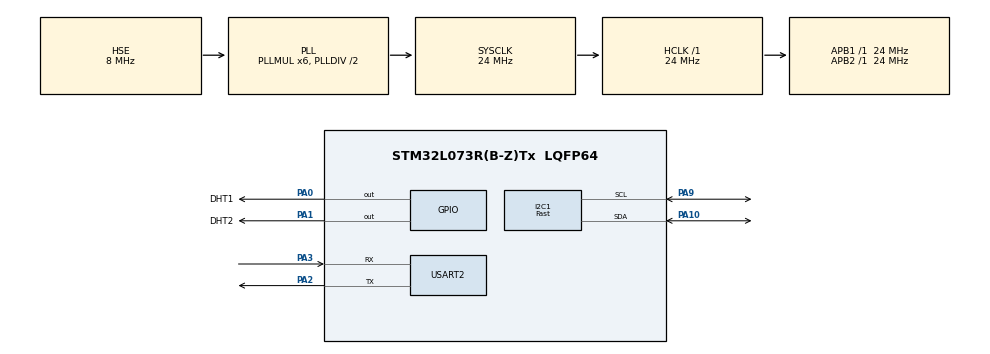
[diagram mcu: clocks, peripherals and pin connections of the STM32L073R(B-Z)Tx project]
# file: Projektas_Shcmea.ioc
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I2C1.I2C_Speed_Mode=I2C_Fast
I2C1.Timing=0x0040131C
Mcu.Family=STM32L0
Mcu.Name=STM32L073R(B-Z)Tx
Mcu.Package=LQFP64
NVIC.I2C1_IRQn=true\:0\:0\:false\:false\:true\:true\:true\:true
NVIC.PVD_IRQn=true\:0\:0\:false\:false\:true\:true\:true\:true
NVIC.TIM7_IRQn=true\:0\:0\:false\:false\:true\:true\:true\:true
NVIC.USART2_IRQn=true\:0\:0\:false\:false\:true\:true\:true\:true
PA0.GPIO_Label=DHT1
PA0.Signal=GPIO_Output
PA1.GPIO_Label=DHT2
PA1.Signal=GPIO_Output
PA10.Mode=I2C
PA10.Signal=I2C1_SDA
PA13.Mode=Serial_Wire
PA13.Signal=SYS_SWDIO
PA14.Mode=Serial_Wire
PA14.Signal=SYS_SWCLK
PA2.Mode=Asynchronous
PA2.Signal=USART2_TX
PA3.Mode=Asynchronous
PA3.Signal=USART2_RX
PA9.Mode=I2C
PA9.Signal=I2C1_SCL
PC14-OSC32_IN.Mode=LSE-External-Oscillator
PC14-OSC32_IN.Signal=RCC_OSC32_IN
PC15-OSC32_OUT.Mode=LSE-External-Oscillator
PC15-OSC32_OUT.Signal=RCC_OSC32_OUT
PH0-OSC_IN.Mode=HSE-External-Clock-Source
PH0-OSC_IN.Signal=RCC_OSC_IN
ProjectManager.HeapSize=0x200
ProjectManager.StackSize=0x400
ProjectManager.TargetToolchain=MDK-ARM V5.32
RCC.AHBFreq_Value=24000000
RCC.APB1Freq_Value=24000000
RCC.APB1TimFreq_Value=24000000
RCC.APB2Freq_Value=24000000
RCC.APB2TimFreq_Value=24000000
RCC.HCLKFreq_Value=24000000
RCC.HSE_VALUE=8000000
RCC.HSI16_VALUE=16000000
RCC.HSI48_VALUE=48000000
RCC.HSI_VALUE=16000000
RCC.MSI_VALUE=2097000
RCC.PLLMUL=RCC_PLLMUL_6
RCC.PLLSourceVirtual=RCC_PLLSOURCE_HSE
RCC.SYSCLKFreq_VALUE=24000000
RCC.SYSCLKSource=RCC_SYSCLKSOURCE_PLLCLK
RCC.VCOOutputFreq_Value=48000000
TIM6.AutoReloadPreload=TIM_AUTORELOAD_PRELOAD_ENABLE
TIM6.Period=0xFFFF
TIM6.Prescaler=24-1
TIM7.AutoReloadPreload=TIM_AUTORELOAD_PRELOAD_ENABLE
TIM7.Period=1000 - 1
TIM7.Prescaler=24000 - 1
USART2.VirtualMode-Asynchronous=VM_ASYNC
VP_TIM6_VS_ClockSourceINT.Mode=Enable_Timer
VP_TIM7_VS_ClockSourceINT.Mode=Enable_Timer
board=custom

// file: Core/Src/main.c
/* USER CODE BEGIN Header */
/**
  ******************************************************************************
  * @file           : main.c
  * @brief          : Main program body
  ******************************************************************************
  * @attention
  *
  * Copyright (c) 2025 STMicroelectronics.
  * All rights reserved.
  *
  * This software is licensed under terms that can be found in the LICENSE file
  * in the root directory of this software component.
  * If no LICENSE file comes with this software, it is provided AS-IS.
  *
  ******************************************************************************
  */
/* USER CODE END Header */
#include "main.h"

/* USER CODE BEGIN Includes */
#include "ssd1306.h"
#include "fonts.h"
#include "stdio.h"
#include "math.h"
#include "string.h"
/* USER CODE END Includes */

I2C_HandleTypeDef hi2c1;

TIM_HandleTypeDef htim6;
TIM_HandleTypeDef htim7;

UART_HandleTypeDef huart2;

void SystemClock_Config(void);
static void MX_GPIO_Init(void);
static void MX_I2C1_Init(void);
static void MX_USART2_UART_Init(void);
static void MX_TIM6_Init(void);
static void MX_TIM7_Init(void);

/* USER CODE BEGIN 0 */

//Velinimo funkcija mikrosekundemis
void delay (uint16_t time)
{
	__HAL_TIM_SET_COUNTER(&htim6, 0);
	while ((__HAL_TIM_GET_COUNTER(&htim6))<time);
}
// Matavimo kintamieji
uint16_t RH1 = 0, RH2 = 0;
float Hum1 = 0, Hum2 = 0, Avg = 0, Avg10 = 0, sum1 = 0, sum2 = 0, sum3 = 0, Diff10 = 0;
uint8_t Diff = 0,sample = 0;

//Funkcija nustatyti pin'a kaip outpout
void Set_Pin_Output(GPIO_TypeDef *GPIOx, uint16_t GPIO_Pin)
{
	GPIO_InitTypeDef GPIO_InitStruct = {0};
	GPIO_InitStruct.Pin = GPIO_Pin;
	GPIO_InitStruct.Mode = GPIO_MODE_OUTPUT_PP;
	GPIO_InitStruct.Speed = GPIO_SPEED_FREQ_LOW;
	HAL_GPIO_Init(GPIOx, &GPIO_InitStruct);
}

//Funkcija nustatyti pin'a kaip input
void Set_Pin_Input(GPIO_TypeDef *GPIOx, uint16_t GPIO_Pin)
{
	GPIO_InitTypeDef GPIO_InitStruct = {0};
	GPIO_InitStruct.Pin = GPIO_Pin;
	GPIO_InitStruct.Mode = GPIO_MODE_INPUT;
	GPIO_InitStruct.Pull = GPIO_PULLUP;
	HAL_GPIO_Init(GPIOx, &GPIO_InitStruct);
}

/***************************DHT11 MATAVIMAS**********************************************/
//DHT11 jutikliu prijungimo pin'ai
#define DHT11_1_PORT GPIOA
#define DHT11_1_PIN  GPIO_PIN_0
#define DHT11_2_PORT GPIOA
#define DHT11_2_PIN  GPIO_PIN_1

//Funkcija nusiusti pradzios signala DHT11
void DHT11_Start(GPIO_TypeDef *GPIOx, uint16_t GPIO_Pin)
{
	Set_Pin_Output(GPIOx, GPIO_Pin); //nustatom pin'a kaip output
	HAL_GPIO_WritePin(GPIOx, GPIO_Pin,1); //pradiniu atveju laikom auksta
	delay(1000); //laukiame 1 ms
	HAL_GPIO_WritePin(GPIOx, GPIO_Pin, 0); //nuleidziam zemyn
	delay(18000); //laukiame 18 ms
	HAL_GPIO_WritePin(GPIOx, GPIO_Pin, 1); //pakeliam pin'a aukstyn
	delay(20); //laukiame 20 µs
	Set_Pin_Input(GPIOx, GPIO_Pin); //nustatome kaip input
}

//DHT11 atsako funkcija
uint8_t DHT11_Check_Response(GPIO_TypeDef *GPIOx, uint16_t GPIO_Pin)
{
	uint8_t Response = 0;
	delay(40); //laukiame 40 µs
	if (!(HAL_GPIO_ReadPin(GPIOx, GPIO_Pin))) //Patikriname ar pin'as yra zemas
	{
		delay(80); //laukiame 80 µs
		if ((HAL_GPIO_ReadPin(GPIOx, GPIO_Pin)))
			Response = 1; //Patikriname ar pin'as yra pakeltas aukstyn ir nurodome, kad jutiklis atsake
		else Response = 0; //Jutiklis neatsake
	}
	while ((HAL_GPIO_ReadPin(GPIOx, GPIO_Pin))); //Laukiame kol pin'as vel bus zemas
	return Response;
}

//Funkcija nuskaityti 1 baita is DHT11
uint8_t DHT11_Read(GPIO_TypeDef *GPIOx, uint16_t GPIO_Pin)
{
	uint8_t i, j;
	for (j = 0; j < 8; j++)
	{
		while (!(HAL_GPIO_ReadPin(GPIOx, GPIO_Pin))); //Laukiame kol pin'as bus aukstas
		delay(40); //laukiame 40 µs
		if (!(HAL_GPIO_ReadPin(GPIOx, GPIO_Pin))) //Jei zemas - tai 0
		{
			i &= ~(1 << (7 - j)); //Irasome 0
		}
		else i |= (1 << (7 - j)); //Jei aukstas - tai 1
		while ((HAL_GPIO_ReadPin(GPIOx, GPIO_Pin))); //Laukiame kol vel taps zemas
	}
	return i;
}

//Funkcija nuskaityti dregme is DHT11
uint8_t ReadHumidity(GPIO_TypeDef *GPIOx, uint16_t GPIO_Pin)
{
	uint8_t Rh_byte1, Rh_byte2, Temp_byte1, Temp_byte2;
	uint16_t SUM;

	DHT11_Start(GPIOx, GPIO_Pin);
	if (DHT11_Check_Response(GPIOx, GPIO_Pin))
	{
		Rh_byte1 = DHT11_Read(GPIOx, GPIO_Pin);
		Rh_byte2 = DHT11_Read(GPIOx, GPIO_Pin);
		Temp_byte1 = DHT11_Read(GPIOx, GPIO_Pin);
		Temp_byte2 = DHT11_Read(GPIOx, GPIO_Pin);
		SUM = DHT11_Read(GPIOx, GPIO_Pin);
		return Rh_byte1; //tik pirmas baitas dregmei
	}
	else return 255; // klaidos reiksme
}
// UART klaidu valdymo funkcija
void HandleError(void) {
    uint32_t uart_err;
    uart_err = HAL_UART_GetError(&huart2);
}

int8_t OLED1 = 1; // kintamasis pirmam kartui atnaujint indikatoriu
char txBuf[64];
extern UART_HandleTypeDef huart2;

void HAL_TIM_PeriodElapsedCallback(TIM_HandleTypeDef *htim7)
{
	char buf[32];

	RH1 = ReadHumidity(DHT11_1_PORT, DHT11_1_PIN);
	RH2 = ReadHumidity(DHT11_2_PORT, DHT11_2_PIN);

	if (RH1 == 255 || RH2 == 255) { // Klaidos tikrinimas
		 const char* errorMsg = "Klaida: DHT11 nepavyko ismatuoti\r\n";
    HAL_UART_Transmit(&huart2, (uint8_t*)errorMsg, strlen(errorMsg), HAL_MAX_DELAY);

    // Sustabdom laikmati
    HAL_TIM_Base_Stop_IT(&htim6);

    // OLED klaidos pranešimas
    ssd1306_Fill(Black);
    ssd1306_SetCursor(30, 10);
    ssd1306_WriteString("Klaida", Font_11x18, White);
    ssd1306_UpdateScreen(&hi2c1);
	}
	else {
		HAL_TIM_Base_Start_IT(&htim6); //jei viskas gerai, laikmatis vel paleidziamas
		// Skaiciavimai
		Hum1 = (float) RH1;
		Hum2 = (float) RH2;
		Avg = (Hum1 + Hum2) / 2;
		Diff = fabs(Hum1 - Hum2);

		// Duomenu perdavimas kompiuteriui
		sprintf(txBuf, "Avg: %.1f%%, Diff: %d%%\r\n", Avg, Diff);
        if (HAL_UART_Transmit(&huart2, (uint8_t*)txBuf, strlen(txBuf), HAL_MAX_DELAY) != HAL_OK) {
            HandleError();
        }

		// Vidurkinimas kas 10 matavimu
		sum1 += Hum1;
		sum2 += Hum2;
		sum3 += Diff;
		sample++;

		if (sample == 10 || OLED1) {
			Avg10 = (sum1 + sum2) / (2 * sample);
			Diff10 = sum3 / sample;
			sample = 0;
			sum1 = 0;
			sum2 = 0;
			sum3 = 0;

			// OLED atnaujinimas
			ssd1306_Fill(Black);
			ssd1306_SetCursor(0, 5);
			sprintf(buf, "Avg: %.1f %%", Avg10);
			ssd1306_WriteString(buf, Font_11x18, White);

			ssd1306_SetCursor(0, 25);
			sprintf(buf, "Diff: %.1f %%", Diff10);
			ssd1306_WriteString(buf, Font_11x18, White);

			ssd1306_UpdateScreen(&hi2c1);
			OLED1 = 0;
		}
	}
}

/* USER CODE END 0 */

int main(void)
{

  /* MCU Configuration--------------------------------------------------------*/

  /* Reset of all peripherals, Initializes the Flash interface and the Systick. */
  HAL_Init();

  /* Configure the system clock */
  SystemClock_Config();

  /* Initialize all configured peripherals */
  MX_GPIO_Init();
  MX_I2C1_Init();
  MX_USART2_UART_Init();
  MX_TIM6_Init();
  MX_TIM7_Init();
  /* USER CODE BEGIN 2 */
	// Issiunciam "STM32 READY" po paleidimo
    sprintf(txBuf, "STM32 READY\r\n");
    if (HAL_UART_Transmit(&huart2, (uint8_t*)txBuf, strlen(txBuf), HAL_MAX_DELAY) != HAL_OK) {
        HandleError();
    }

	ssd1306_Init(&hi2c1);
	HAL_Delay(2000); // Palaukiame 2 sekundes
  ssd1306_Fill(Black);

HAL_TIM_Base_Start(&htim6); // Paleidžiam laikmati be pertraukciu
HAL_TIM_Base_Start_IT(&htim7); // Paleidžiam su pertrauktim

  /* USER CODE END 2 */

  /* Infinite loop */
  while (1)
  {

  }
}

void SystemClock_Config(void)
{
  RCC_OscInitTypeDef RCC_OscInitStruct = {0};
  RCC_ClkInitTypeDef RCC_ClkInitStruct = {0};
  RCC_PeriphCLKInitTypeDef PeriphClkInit = {0};

  /** Configure the main internal regulator output voltage
  */
  __HAL_PWR_VOLTAGESCALING_CONFIG(PWR_REGULATOR_VOLTAGE_SCALE1);

  /** Initializes the RCC Oscillators according to the specified parameters
  * in the RCC_OscInitTypeDef structure.
  */
  RCC_OscInitStruct.OscillatorType = RCC_OSCILLATORTYPE_HSE;
  RCC_OscInitStruct.HSEState = RCC_HSE_BYPASS;
  RCC_OscInitStruct.PLL.PLLState = RCC_PLL_ON;
  RCC_OscInitStruct.PLL.PLLSource = RCC_PLLSOURCE_HSE;
  RCC_OscInitStruct.PLL.PLLMUL = RCC_PLLMUL_6;
  RCC_OscInitStruct.PLL.PLLDIV = RCC_PLLDIV_2;
  if (HAL_RCC_OscConfig(&RCC_OscInitStruct) != HAL_OK)
  {
    Error_Handler();
  }

  /** Initializes the CPU, AHB and APB buses clocks
  */
  RCC_ClkInitStruct.ClockType = RCC_CLOCKTYPE_HCLK|RCC_CLOCKTYPE_SYSCLK
                              |RCC_CLOCKTYPE_PCLK1|RCC_CLOCKTYPE_PCLK2;
  RCC_ClkInitStruct.SYSCLKSource = RCC_SYSCLKSOURCE_PLLCLK;
  RCC_ClkInitStruct.AHBCLKDivider = RCC_SYSCLK_DIV1;
  RCC_ClkInitStruct.APB1CLKDivider = RCC_HCLK_DIV1;
  RCC_ClkInitStruct.APB2CLKDivider = RCC_HCLK_DIV1;

  if (HAL_RCC_ClockConfig(&RCC_ClkInitStruct, FLASH_LATENCY_1) != HAL_OK)
  {
    Error_Handler();
  }
  PeriphClkInit.PeriphClockSelection = RCC_PERIPHCLK_USART2|RCC_PERIPHCLK_I2C1;
  PeriphClkInit.Usart2ClockSelection = RCC_USART2CLKSOURCE_PCLK1;
  PeriphClkInit.I2c1ClockSelection = RCC_I2C1CLKSOURCE_PCLK1;
  if (HAL_RCCEx_PeriphCLKConfig(&PeriphClkInit) != HAL_OK)
  {
    Error_Handler();
  }
}

static void MX_I2C1_Init(void)
{

  hi2c1.Instance = I2C1;
  hi2c1.Init.Timing = 0x0040131C;
  hi2c1.Init.OwnAddress1 = 0;
  hi2c1.Init.AddressingMode = I2C_ADDRESSINGMODE_7BIT;
  hi2c1.Init.DualAddressMode = I2C_DUALADDRESS_DISABLE;
  hi2c1.Init.OwnAddress2 = 0;
  hi2c1.Init.OwnAddress2Masks = I2C_OA2_NOMASK;
  hi2c1.Init.GeneralCallMode = I2C_GENERALCALL_DISABLE;
  hi2c1.Init.NoStretchMode = I2C_NOSTRETCH_DISABLE;
  if (HAL_I2C_Init(&hi2c1) != HAL_OK)
  {
    Error_Handler();
  }

  /** Configure Analogue filter
  */
  if (HAL_I2CEx_ConfigAnalogFilter(&hi2c1, I2C_ANALOGFILTER_ENABLE) != HAL_OK)
  {
    Error_Handler();
  }

  /** Configure Digital filter
  */
  if (HAL_I2CEx_ConfigDigitalFilter(&hi2c1, 0) != HAL_OK)
  {
    Error_Handler();
  }

}

static void MX_TIM6_Init(void)
{

  TIM_MasterConfigTypeDef sMasterConfig = {0};

  htim6.Instance = TIM6;
  htim6.Init.Prescaler = 24-1;
  htim6.Init.CounterMode = TIM_COUNTERMODE_UP;
  htim6.Init.Period = 0xFFFF;
  htim6.Init.AutoReloadPreload = TIM_AUTORELOAD_PRELOAD_ENABLE;
  if (HAL_TIM_Base_Init(&htim6) != HAL_OK)
  {
    Error_Handler();
  }
  sMasterConfig.MasterOutputTrigger = TIM_TRGO_RESET;
  sMasterConfig.MasterSlaveMode = TIM_MASTERSLAVEMODE_DISABLE;
  if (HAL_TIMEx_MasterConfigSynchronization(&htim6, &sMasterConfig) != HAL_OK)
  {
    Error_Handler();
  }

}

static void MX_TIM7_Init(void)
{

  TIM_MasterConfigTypeDef sMasterConfig = {0};

  htim7.Instance = TIM7;
  htim7.Init.Prescaler = 24000 - 1;
  htim7.Init.CounterMode = TIM_COUNTERMODE_UP;
  htim7.Init.Period = 1000 - 1;
  htim7.Init.AutoReloadPreload = TIM_AUTORELOAD_PRELOAD_ENABLE;
  if (HAL_TIM_Base_Init(&htim7) != HAL_OK)
  {
    Error_Handler();
  }
  sMasterConfig.MasterOutputTrigger = TIM_TRGO_RESET;
  sMasterConfig.MasterSlaveMode = TIM_MASTERSLAVEMODE_DISABLE;
  if (HAL_TIMEx_MasterConfigSynchronization(&htim7, &sMasterConfig) != HAL_OK)
  {
    Error_Handler();
  }

}

static void MX_USART2_UART_Init(void)
{

  huart2.Instance = USART2;
  huart2.Init.BaudRate = 115200;
  huart2.Init.WordLength = UART_WORDLENGTH_8B;
  huart2.Init.StopBits = UART_STOPBITS_1;
  huart2.Init.Parity = UART_PARITY_NONE;
  huart2.Init.Mode = UART_MODE_TX_RX;
  huart2.Init.HwFlowCtl = UART_HWCONTROL_NONE;
  huart2.Init.OverSampling = UART_OVERSAMPLING_16;
  huart2.Init.OneBitSampling = UART_ONE_BIT_SAMPLE_DISABLE;
  huart2.AdvancedInit.AdvFeatureInit = UART_ADVFEATURE_NO_INIT;
  if (HAL_UART_Init(&huart2) != HAL_OK)
  {
    Error_Handler();
  }

}

static void MX_GPIO_Init(void)
{
  GPIO_InitTypeDef GPIO_InitStruct = {0};

  /* GPIO Ports Clock Enable */
  __HAL_RCC_GPIOC_CLK_ENABLE();
  __HAL_RCC_GPIOH_CLK_ENABLE();
  __HAL_RCC_GPIOA_CLK_ENABLE();

  /*Configure GPIO pin Output Level */
  HAL_GPIO_WritePin(GPIOA, DHT1_Pin|DHT2_Pin, GPIO_PIN_RESET);

  /*Configure GPIO pins : DHT1_Pin DHT2_Pin */
  GPIO_InitStruct.Pin = DHT1_Pin|DHT2_Pin;
  GPIO_InitStruct.Mode = GPIO_MODE_OUTPUT_PP;
  GPIO_InitStruct.Pull = GPIO_NOPULL;
  GPIO_InitStruct.Speed = GPIO_SPEED_FREQ_LOW;
  HAL_GPIO_Init(GPIOA, &GPIO_InitStruct);

}

void Error_Handler(void)
{
  __disable_irq();
  while (1)
  {
  }
}
